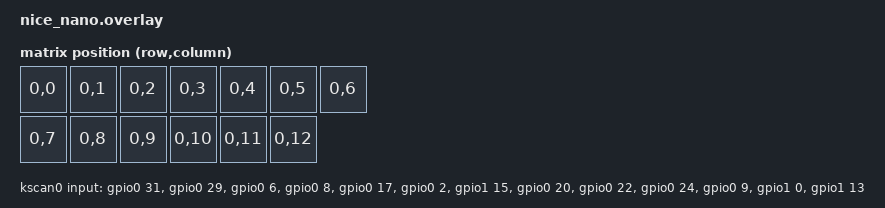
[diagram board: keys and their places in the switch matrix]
#include <dt-bindings/gpio/gpio.h>
#include <dt-bindings/zmk/matrix_transform.h>

/ {
    chosen {
        zmk,kscan = &kscan0;
        zmk,matrix-transform = &default_transform;
    };

    kscan0: kscan0 {
        compatible = "zmk,kscan-gpio-direct";
        wakeup-source;

        input-gpios =
            <&gpio0 31 (GPIO_ACTIVE_LOW | GPIO_PULL_UP)>,
            <&gpio0 29 (GPIO_ACTIVE_LOW | GPIO_PULL_UP)>,
            <&gpio0  6 (GPIO_ACTIVE_LOW | GPIO_PULL_UP)>,
            <&gpio0  8 (GPIO_ACTIVE_LOW | GPIO_PULL_UP)>,
            <&gpio0 17 (GPIO_ACTIVE_LOW | GPIO_PULL_UP)>,
            <&gpio0  2 (GPIO_ACTIVE_LOW | GPIO_PULL_UP)>,
            <&gpio1 15 (GPIO_ACTIVE_LOW | GPIO_PULL_UP)>,
            <&gpio0 20 (GPIO_ACTIVE_LOW | GPIO_PULL_UP)>,
            <&gpio0 22 (GPIO_ACTIVE_LOW | GPIO_PULL_UP)>,
            <&gpio0 24 (GPIO_ACTIVE_LOW | GPIO_PULL_UP)>,
            <&gpio0  9 (GPIO_ACTIVE_LOW | GPIO_PULL_UP)>,
            <&gpio1  0 (GPIO_ACTIVE_LOW | GPIO_PULL_UP)>,
            <&gpio1 13 (GPIO_ACTIVE_LOW | GPIO_PULL_UP)>;

        debounce-press-ms = <5>;
        debounce-release-ms = <5>;
    };

    default_transform: matrix_transform_0 {
        compatible = "zmk,matrix-transform";
        rows = <1>;
        columns = <13>;
        map = <
            RC(0,0) RC(0,1) RC(0,2) RC(0,3) RC(0,4) RC(0,5) RC(0,6)
            RC(0,7) RC(0,8) RC(0,9) RC(0,10) RC(0,11) RC(0,12)
        >;
    };
};

&uicr {
    nfct-pins-as-gpios;
};
